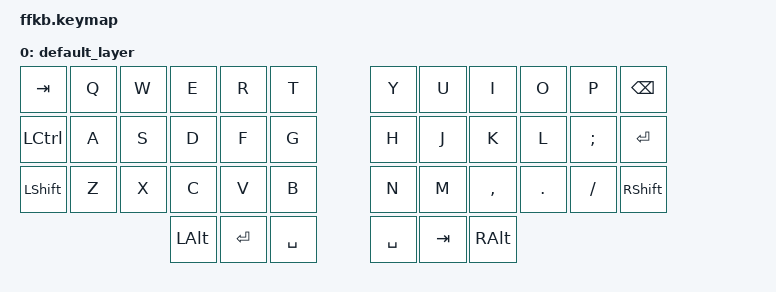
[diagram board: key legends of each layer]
#include <behaviors.dtsi>
#include <dt-bindings/zmk/keys.h>
#include <dt-bindings/zmk/bt.h>

/ {
    keymap {
        compatible = "zmk,keymap";

        default_layer {
// --------------------------------------------------------------------------------------------------------------------------------------------------------------------
// |   TAB   |    Q    |    W    |    E    |    R    |    T    |                    |    Y    |    U    |    I    |    O    |    P    |   BSPC  |
// |   CTRL  |    A    |    S    |    D    |    F    |    G    |                    |    H    |    J    |    K    |    L    |    ;    | RETURN  |
// |  SHIFT  |    Z    |    X    |    C    |    V    |    B    |                    |    N    |    M    |    ,    |    .    |    /    |  SHIFT  |
//                                         |   ALT   | RETURN  |  SPACE | |  SPACE  |   TAB   |   RALT  |
            bindings = <
    &kp TAB    &kp Q    &kp W    &kp E     &kp R     &kp T                                                 &kp Y     &kp U     &kp I     &kp O     &kp P    &kp BSPC
    &kp LCTRL  &kp A    &kp S    &kp D     &kp F     &kp G                                                 &kp H     &kp J     &kp K     &kp L     &kp SEMI &kp RETURN
    &kp LSHIFT &kp Z    &kp X    &kp C     &kp V     &kp B                                                 &kp N     &kp M     &kp COMMA &kp DOT   &kp FSLH &kp RSHIFT
                                           &kp LALT  &kp RET    &kp SPACE &kp SPACE  &kp TAB   &kp RALT
            >;
        };
    };
};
